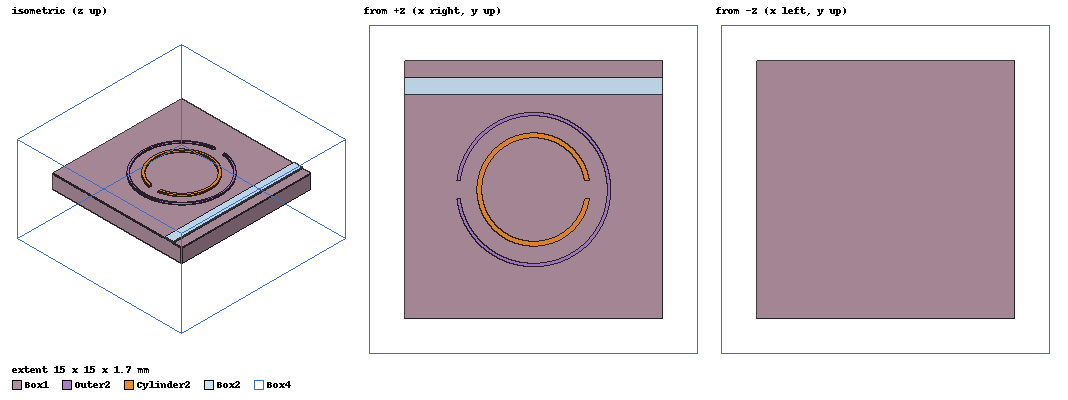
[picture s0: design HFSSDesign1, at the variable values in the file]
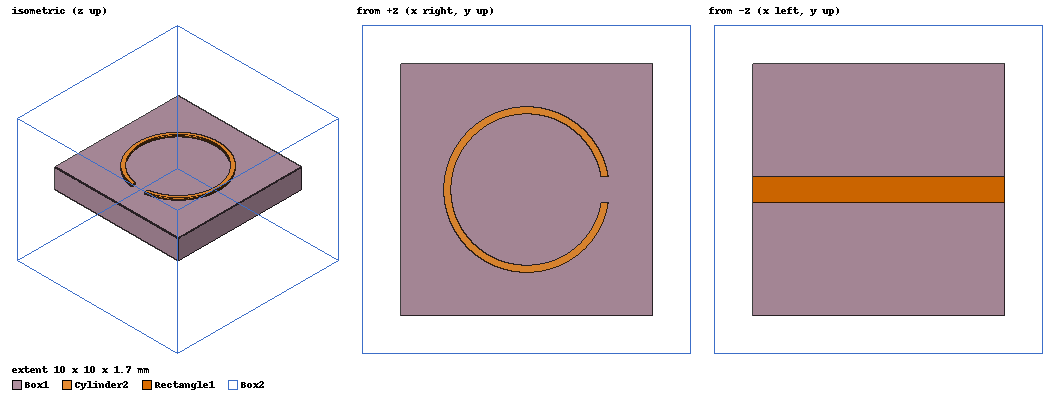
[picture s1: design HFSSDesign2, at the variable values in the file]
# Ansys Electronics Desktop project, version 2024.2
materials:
  vacuum: permittivity=1
  FR4_epoxy: permittivity=4.4 dielectric_loss_tangent=0.02
  copper: permeability=0.999991 conductivity=58000000
  air: permittivity=1.0006 permeability=1.0000004

design HFSSDesign1 (HFSS, HFSS Terminal Network, model units mm)
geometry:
  Box1 [FR4_epoxy] = box(corner=(0mm, 0mm, 0mm), size=(15mm, 15mm, 1.6mm))
  Cylinder1 = cylinder(axis=Z, base_centre=(7.5mm, 7.5mm, 1.6mm), radius=3mm, height=0.1mm)
  Cylinder2 [copper] = cylinder(axis=Z, base_centre=(7.5mm, 7.5mm, 1.6mm), radius=3.281mm, height=0.1mm)
  Slit = box(corner=(10mm, 7mm, 1.6mm), size=(2mm, 1mm, 0.1mm))
  Cylinder2.subtract(Slit)
  Cylinder2.subtract(Cylinder1)
  Box2 [vacuum] = box(corner=(0mm, 13mm, 1.6mm), size=(15mm, 1mm, 0.1mm))
  Outer2 [copper] = cylinder(axis=Z, base_centre=(7.5mm, 7.5mm, 1.6mm), radius=4.472136mm, height=0.1mm)
  Inner2 = cylinder(axis=Z, base_centre=(7.5mm, 7.5mm, 1.6mm), radius=4.2720019mm, height=0.1mm)
  Outer2.subtract(Inner2)
  Box3 = box(corner=(2mm, 7mm, 1.6mm), size=(2mm, 1mm, 0.1mm))
  Outer2.subtract(Box3)
  Box4 [vacuum] = box(corner=(-2mm, -2mm, -5mm), size=(19mm, 19mm, 10mm))
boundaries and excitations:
  PerfE1: Perfect E Objects=Cylinder2
  PerfE2: Perfect E Faces=Box4.face(-y)
  PerfE3: Perfect E Faces=Box4.face(+y)
  PerfH1: Perfect H Faces=Box4.face(+z)
  PerfH2: Perfect H Faces=Box4.face(-z)
  PerfE4: Perfect E Objects=Outer2
  1: Wave Port Faces=Box4.face(+x) WavePortType=Modal NumModes=1 Modes{Mode1{IntLine{(17, -2, 0) -> (17, 17, 0)} CharImp=Zpi}}
  2: Wave Port Faces=Box4.face(-x) WavePortType=Modal NumModes=1 Modes{Mode1{IntLine{(-2, -2, 0) -> (-2, 17, 0)} CharImp=Zpi}}
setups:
  Setup1: HfssDriven Frequency=5GHz MaxDeltaS=0.02 MaximumPasses=10 MinimumPasses=1 MinimumConvergedPasses=1 PercentRefinement=30 BasisOrder=1 PortAccuracy=2 DrivenSolverType="Direct Solver"
    sweep Sweep: 1GHz to 10GHz, 401 points; Type=Fast SaveFields
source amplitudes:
  1:1: 1V 0deg
  2:1: 0V 0deg
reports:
  S Parameter Plot 1: dB(S(1,1)), dB(S(2,1)) vs Freq on Setup1 : Sweep

design HFSSDesign2 (HFSS, HFSS Terminal Network, model units mm)
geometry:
  Box1 [FR4_epoxy] = box(corner=(0mm, 0mm, 0mm), size=(10mm, 10mm, 1.6mm))
  Cylinder2 [copper] = cylinder(axis=Z, base_centre=(5mm, 5mm, 1.6mm), radius=3.281mm, height=0.1mm)
  Slit = box(corner=(7.5mm, 4.5mm, 1.6mm), size=(2mm, 1mm, 0.1mm))
  Cylinder2.subtract(Slit)
  Cylinder1 = cylinder(axis=Z, base_centre=(5mm, 5mm, 1.6mm), radius=3mm, height=0.1mm)
  Rectangle1 = rectangle(corner=(0mm, 4.5mm, 0mm), x_size=10mm, y_size=1mm)
  Cylinder2.subtract(Cylinder1)
  Box2 [vacuum] = box(corner=(-1.5mm, -1.5mm, -5mm), size=(13mm, 13mm, 10mm))
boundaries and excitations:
  PerfE1: Perfect E Objects=Cylinder2
  PerfE8: Perfect E Faces=Box2.face(-y)
  PerfE9: Perfect E Faces=Box2.face(+y)
  PerfH3: Perfect H Faces=Box2.face(+z)
  PerfH4: Perfect H Faces=Box2.face(-z)
  PerfE11: Perfect E Objects=Rectangle1
  5: Wave Port Faces=Box2.face(+x) WavePortType=Modal NumModes=1 Modes{Mode1{IntLine{(11.5, -1.5, 0) -> (11.5, 11.5, -0.5)} CharImp=Zpi}}
  6: Wave Port Faces=Box2.face(-x) WavePortType=Modal NumModes=1 Modes{Mode1{IntLine{(-1.5, -1.5, 0) -> (-1.5, 11.5, 0)} CharImp=Zpi}}
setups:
  Setup1: HfssDriven Frequency=5GHz MaxDeltaS=0.02 MaximumPasses=10 MinimumPasses=1 MinimumConvergedPasses=1 PercentRefinement=30 BasisOrder=1 PortAccuracy=2 DrivenSolverType="Direct Solver"
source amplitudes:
  5:1: 1V 0deg
  6:1: 0V 0deg
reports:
  S Parameter Plot 1: dB(S(5,5)) vs Freq on Setup1 : LastAdaptive
